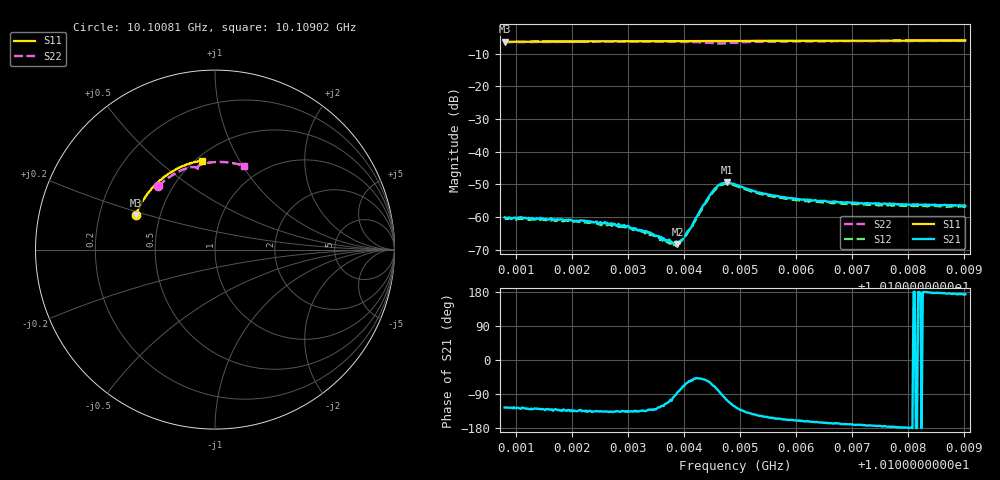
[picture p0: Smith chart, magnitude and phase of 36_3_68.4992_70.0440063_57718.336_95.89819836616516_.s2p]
#  HZ  S  RI  R  50.00
! Rohde & Schwarz Vector Network Analyzer
! Rohde-Schwarz,ZNB20-2Port,1311601062101988,3.16
! Created: UTC 3/20/2024, 5:05:18 PM
! freq[Hz]  re:S11  im:S11  re:S21  im:S21  re:S12  im:S12  re:S22  im:S22
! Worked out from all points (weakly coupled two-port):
!   401 points, 10.10081 GHz to 10.10902 GHz, reference 50 ohm
!   highest |S21| = -49.46 dB at 10.10477 GHz (marker M1); lowest = -68.3 dB at 10.10389 GHz (marker M2)
!   lowest |S11| = -6.4 dB at 10.10081 GHz (marker M3), VSWR 2.85, Z = 18.2 + j9.1 ohm
!   |S11| at or under -10 dB: nowhere
!   |S22| runs from -6.9 to -6.1 dB; largest |S21 - S12| = 0.00035
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1.0100806e10  -0.4409 0.1922  -0.000573 -0.000802  -0.000477 -0.000809  -0.3152 0.3536
1.0102181e10  -0.4049 0.2678  -0.000625 -0.000617  -0.000536 -0.00062  -0.2457 0.4096
1.0102982e10  -0.3781 0.3083  -0.000522 -0.000487  -0.000452 -0.000501  -0.1999 0.436
1.0103311e10  -0.366 0.3241  -0.000433 -0.000429  -0.00033 -0.000449  -0.1796 0.4453
1.0103557e10  -0.3565 0.3356  -0.000286 -0.000414  -0.000264 -0.000414  -0.1637 0.4513
1.010366e10  -0.3523 0.3404  -0.000201 -0.000386  -0.000143 -0.0004  -0.1568 0.4536
1.0103721e10  -0.3499 0.3432  -0.000164 -0.000407  -0.000136 -0.000398  -0.1524 0.455
1.0103804e10  -0.3465 0.3468  -6.84e-05 -0.000398  -3.6e-05 -0.00042  -0.1467 0.4564
1.0103886e10  -0.3432 0.3506  3.13e-05 -0.000382  4.19e-05 -0.000404  -0.1407 0.458
1.0103927e10  -0.3414 0.3523  7.37e-05 -0.000419  7.59e-05 -0.000379  -0.1377 0.4585
1.0103988e10  -0.3389 0.3551  0.000172 -0.000435  0.000189 -0.000425  -0.1329 0.4594
1.0104112e10  -0.3336 0.3604  0.000357 -0.000549  0.00042 -0.000503  -0.1232 0.4603
1.0104317e10  -0.3247 0.3691  0.000877 -0.00103  0.000906 -0.000898  -0.1063 0.4578
1.0104522e10  -0.3157 0.3776  0.000948 -0.00232  0.00114 -0.0021  -0.0951 0.4467
1.0104645e10  -0.3101 0.3824  0.000229 -0.00314  0.000477 -0.00298  -0.0979 0.4406
1.0104769e10  -0.3046 0.3874  -0.000927 -0.00323  -0.000598 -0.00317  -0.1031 0.444
1.0104912e10  -0.298 0.393  -0.00171 -0.00264  -0.00143 -0.00266  -0.102 0.4543
1.0105282e10  -0.2804 0.4069  -0.00199 -0.00143  -0.00181 -0.00151  -0.0796 0.4726
1.0105569e10  -0.2664 0.4172  -0.00189 -0.000994  -0.00173 -0.00111  -0.0593 0.4796
1.0106288e10  -0.2296 0.4404  -0.00171 -0.000526  -0.0016 -0.00065  -0.0106 0.4874
1.0107664e10  -0.1541 0.4751  -0.00159 -0.000123  -0.0015 -0.000266  0.0788 0.485
1.0109019e10  -0.075 0.4963  -0.00146 0.000169  -0.00144 2.98e-05  0.1635 0.4665
